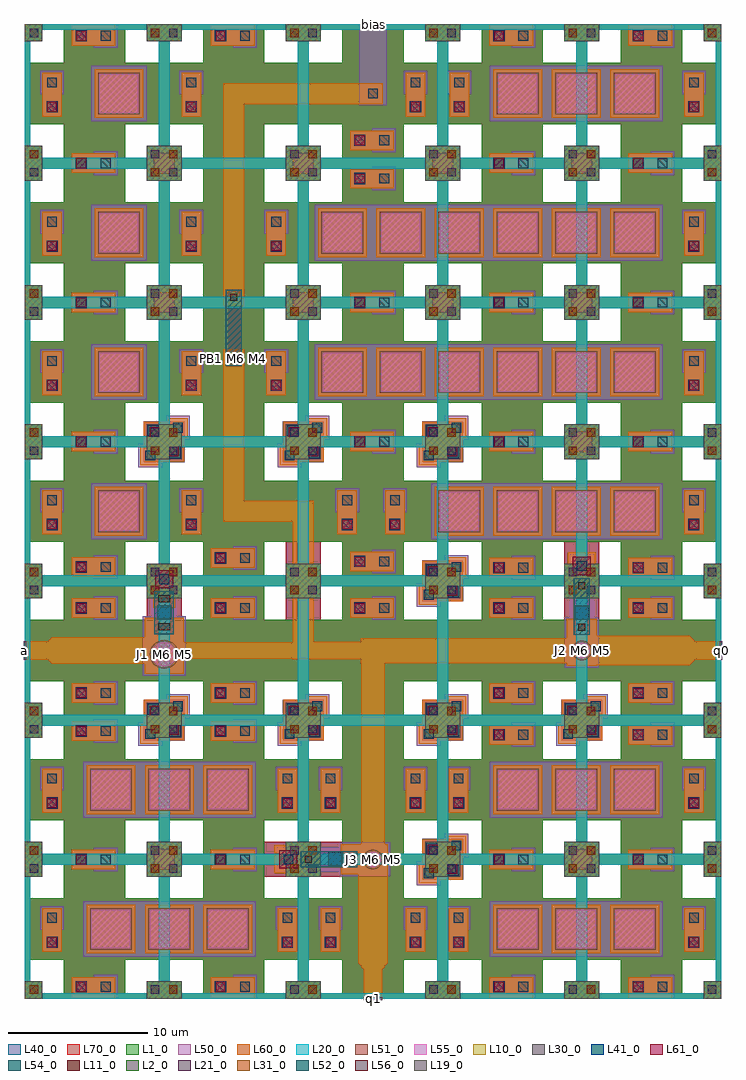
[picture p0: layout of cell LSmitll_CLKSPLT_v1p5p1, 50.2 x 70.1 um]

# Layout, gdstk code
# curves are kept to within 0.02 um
from math import pi, radians
import gdstk
lib = gdstk.Library(unit=1e-6, precision=1e-09)
def R(c, l, rs):  # rectangles x0, y0, x1, y1
    for r in rs: c.add(gdstk.rectangle(r[:2], r[2:], *l))
def A(c, l, x, y, w, h, nx, ny, dx, dy):  # array of equal rectangles
    R(c, l, [(x+i*dx, y+j*dy, x+i*dx+w, y+j*dy+h) for i in range(nx) for j in range(ny)])
def P(c, l, *ps):  # polygons
    for p in ps: c.add(gdstk.Polygon(p, *l))
L1_0 = (1, 0)
L2_0 = (2, 0)
L10_0 = (10, 0)
L11_0 = (11, 0)
L19_0 = (19, 0)
L20_0 = (20, 0)
L21_0 = (21, 0)
L30_0 = (30, 0)
L31_0 = (31, 0)
L40_0 = (40, 0)
L41_0 = (41, 0)
L50_0 = (50, 0)
L51_0 = (51, 0)
L52_0 = (52, 0)
L54_0 = (54, 0)
L55_0 = (55, 0)
L56_0 = (56, 0)
L60_0 = (60, 0)
L61_0 = (61, 0)
L70_0 = (70, 0)

ls_conn_m5m6 = lib.new_cell('ls_conn_M5M6')
R(ls_conn_m5m6, L50_0, [(0,0,1.7,1.7)])
R(ls_conn_m5m6, L54_0, [(0.5,0.5,1.2,1.2)])
R(ls_conn_m5m6, L60_0, [(0.15,0.15,1.55,1.55)])

ls_fakejj_1p5x1p5um = lib.new_cell('ls_FakeJJ_1p5x1p5um')
R(ls_fakejj_1p5x1p5um, L40_0, [(-1.25,-1.25,1.25,1.25)])
R(ls_fakejj_1p5x1p5um, L50_0, [(-1.25,-1.25,1.25,1.25)])
R(ls_fakejj_1p5x1p5um, L51_0, [(-0.75,-0.75,0.75,0.75)])
R(ls_fakejj_1p5x1p5um, L55_0, [(-0.65,-0.65,0.65,0.65)])
R(ls_fakejj_1p5x1p5um, L60_0, [(-1,-1,1,1)])

ls_conn_m4m5m6m7 = lib.new_cell('ls_conn_M4M5M6M7')
R(ls_conn_m4m5m6m7, L40_0, [(0,0,1.4,1.4)])
R(ls_conn_m4m5m6m7, L41_0, [(0.3,0.3,1.1,1.1)])
P(ls_conn_m4m5m6m7, L50_0, [(3.3,1.55),(1.6,1.55),(1.6,1.4),(0,1.4),(0,0),(1.6,0),(1.6,-0.15),(3.3,-0.15)])
R(ls_conn_m4m5m6m7, L54_0, [(2.1,0.35,2.8,1.05)])
R(ls_conn_m4m5m6m7, L60_0, [(0,0,3.15,1.4)])
R(ls_conn_m4m5m6m7, L61_0, [(0.35,0.35,1.05,1.05)])
R(ls_conn_m4m5m6m7, L70_0, [(0,0,1.4,1.4)])

ls_ib_380 = lib.new_cell('ls_ib_380')
R(ls_ib_380, L52_0, [(-0.575,0,0.575,5.45)])
R(ls_ib_380, L56_0, [(-0.26,0.29,0.26,0.81), (-0.26,4.66,0.26,5.18)])
R(ls_ib_380, L60_0, [(-0.625,-0.1,0.625,1.175), (-0.625,4.275,0.625,5.55)])

ls_conn_m5m6m7 = lib.new_cell('ls_conn_M5M6M7')
R(ls_conn_m5m6m7, L50_0, [(-0.5,-0.5,1.2,1.2)])
R(ls_conn_m5m6m7, L54_0, [(0,0,0.7,0.7)])
R(ls_conn_m5m6m7, L60_0, [(-0.65,-0.65,1.35,1.35)])
R(ls_conn_m5m6m7, L61_0, [(-0.3,-0.3,1,1)])
R(ls_conn_m5m6m7, L70_0, [(-0.65,-0.65,1.35,1.35)])

ls_jj_150_sg = lib.new_cell('ls_jj_150_sg')
R(ls_jj_150_sg, L41_0, [(-0.5,2.2,0.5,3.2)])
R(ls_jj_150_sg, L50_0, [(-1.225,-1.225,1.225,2.4), (-0.875,2.4,0.875,6.925)])
P(ls_jj_150_sg, L51_0, [(0,-0.71),(0.27,-0.655),(0.505,-0.5),(0.66,-0.27),(0.71,0),(0.66,0.275),(0.505,0.505),(0.27,0.66),(0,0.715),(-0.27,0.66),(-0.505,0.505),(-0.66,0.275),(-0.71,0),(-0.66,-0.27),(-0.505,-0.5),(-0.27,-0.655)])
R(ls_jj_150_sg, L52_0, [(-0.575,1.125,0.575,5.175)])
P(ls_jj_150_sg, L55_0, [(0,-0.56),(0.23,-0.52),(0.4,-0.41),(0.52,-0.21),(0.56,0),(0.52,0.22),(0.4,0.4),(0.23,0.52),(0,0.56),(-0.23,0.52),(-0.4,0.4),(-0.52,0.22),(-0.56,0),(-0.52,-0.21),(-0.4,-0.41),(-0.23,-0.52)])
R(ls_jj_150_sg, L56_0, [(-0.26,1.41,0.26,1.93), (-0.26,4.39,0.26,4.91)])
R(ls_jj_150_sg, L60_0, [(-1.075,-1.075,1.075,2.3), (-0.725,4.025,0.725,6.775)])
ls_jj_150_sg.add(gdstk.Reference(ls_conn_m5m6m7, (-0.35,5.725)))

ls_jj_325_sg = lib.new_cell('ls_jj_325_sg')
R(ls_jj_325_sg, L41_0, [(-0.5,2.525,0.5,3.525)])
R(ls_jj_325_sg, L50_0, [(-1.55,-1.55,1.55,2.725), (-0.875,2.725,0.875,6.275)])
P(ls_jj_325_sg, L51_0, [(0,-1.035),(0.2,-1.015),(0.395,-0.955),(0.575,-0.86),(0.73,-0.73),(0.86,-0.575),(0.955,-0.395),(1.015,-0.2),(1.035,0),(1.015,0.2),(0.955,0.395),(0.86,0.575),(0.73,0.73),(0.575,0.86),(0.395,0.955),(0.2,1.015),(0,1.035),(-0.2,1.015),(-0.395,0.955),(-0.575,0.86),(-0.73,0.73),(-0.86,0.575),(-0.955,0.395),(-1.015,0.2),(-1.035,0),(-1.015,-0.2),(-0.955,-0.395),(-0.86,-0.575),(-0.73,-0.73),(-0.575,-0.86),(-0.395,-0.955),(-0.2,-1.015)])
R(ls_jj_325_sg, L52_0, [(-0.7,1.45,0.7,4.525)])
R(ls_jj_325_sg, L54_0, [(-0.35,5.05,0.35,5.75)])
P(ls_jj_325_sg, L55_0, [(0,-0.88),(0.34,-0.81),(0.63,-0.62),(0.74,-0.49),(0.82,-0.33),(0.89,0.01),(0.82,0.34),(0.74,0.5),(0.63,0.63),(0.34,0.82),(0,0.89),(-0.34,0.82),(-0.63,0.63),(-0.74,0.5),(-0.82,0.34),(-0.89,0.01),(-0.82,-0.33),(-0.74,-0.49),(-0.63,-0.62),(-0.34,-0.81)])
R(ls_jj_325_sg, L56_0, [(-0.42,1.73,0.42,2.25), (-0.42,3.73,0.42,4.25)])
R(ls_jj_325_sg, L60_0, [(-1.4,-1.4,1.4,2.625), (-0.8,3.35,0.8,6.125)])
ls_jj_325_sg.add(gdstk.Reference(ls_conn_m5m6m7, (-0.35,5.05)))

ls_tr_u_m4 = lib.new_cell('ls_tr_u_M4')
P(ls_tr_u_m4, L1_0, [(10,10),(7.2,10),(7.2,9.6),(8.75,9.6),(8.75,8.75),(9.6,8.75),(9.6,7.2),(7.2,7.2),(7.2,2.8),(9.6,2.8),(9.6,1.25),(8.75,1.25),(8.75,0.4),(7.2,0.4),(7.2,10),(1.25,10),(1.25,9.6),(2.8,9.6),(2.8,7.2),(0.4,7.2),(0.4,2.8),(2.8,2.8),(2.8,0.4),(1.25,0.4),(1.25,1.25),(0.4,1.25),(0.4,8.75),(1.25,8.75),(1.25,10),(0,10),(0,0),(10,0)])
R(ls_tr_u_m4, L2_0, [(9.05,0.35,9.65,0.95), (0.35,9.05,0.95,9.65)])
R(ls_tr_u_m4, L10_0, [(0,0,1.25,1.25), (8.75,0,10,1.25), (0,8.75,1.25,10), (8.75,8.75,10,10)])
R(ls_tr_u_m4, L11_0, [(0.35,0.35,0.95,0.95), (9.05,9.05,9.65,9.65)])
P(ls_tr_u_m4, L20_0, [(10,10),(1.25,10),(1.25,9.6),(8.75,9.6),(8.75,8.75),(9.6,8.75),(9.6,1.25),(8.75,1.25),(8.75,0.4),(1.25,0.4),(1.25,1.25),(0.4,1.25),(0.4,8.75),(1.25,8.75),(1.25,10),(0,10),(0,0),(10,0)])
R(ls_tr_u_m4, L21_0, [(9.05,0.35,9.65,0.95), (0.35,9.05,0.95,9.65)])
R(ls_tr_u_m4, L30_0, [(0,0,1.25,1.25), (8.75,0,10,1.25), (0,8.75,1.25,10), (8.75,8.75,10,10)])
R(ls_tr_u_m4, L31_0, [(0.35,0.35,0.95,0.95), (9.05,9.05,9.65,9.65)])
P(ls_tr_u_m4, L40_0, [(10,10),(7.2,10),(7.2,9.6),(8.75,9.6),(8.75,8.75),(9.6,8.75),(9.6,7.2),(7.2,7.2),(7.2,2.8),(9.6,2.8),(9.6,1.25),(8.75,1.25),(8.75,0.4),(7.2,0.4),(7.2,10),(1.25,10),(1.25,9.6),(2.8,9.6),(2.8,7.2),(0.4,7.2),(0.4,2.8),(2.8,2.8),(2.8,0.4),(1.25,0.4),(1.25,1.25),(0.4,1.25),(0.4,8.75),(1.25,8.75),(1.25,10),(0,10),(0,0),(10,0)])

ls_conn_m4m5m6m7_block = lib.new_cell('ls_conn_M4M5M6M7_block')
R(ls_conn_m4m5m6m7_block, L40_0, [(-1.475,-1.475,1.475,1.475)])
R(ls_conn_m4m5m6m7_block, L41_0, [(0.375,-1.175,1.175,-0.375), (-1.175,0.375,-0.375,1.175)])
P(ls_conn_m4m5m6m7_block, L50_0, [(1.85,1.85),(0.15,1.85),(0.15,1.475),(-1.475,1.475),(-1.475,-0.15),(-1.85,-0.15),(-1.85,-1.85),(-0.15,-1.85),(-0.15,-1.475),(1.475,-1.475),(1.475,0.15),(1.85,0.15)])
R(ls_conn_m4m5m6m7_block, L54_0, [(-1.35,-1.35,-0.65,-0.65), (0.65,0.65,1.35,1.35)])
P(ls_conn_m4m5m6m7_block, L60_0, [(1.7,1.7),(0.3,1.7),(0.3,1.45),(-1.45,1.45),(-1.45,-0.3),(-1.7,-0.3),(-1.7,-1.7),(-0.3,-1.7),(-0.3,-1.45),(1.45,-1.45),(1.45,0.3),(1.7,0.3)])
R(ls_conn_m4m5m6m7_block, L61_0, [(0.35,-1.05,1.05,-0.35), (-1.05,0.35,-0.35,1.05)])
R(ls_conn_m4m5m6m7_block, L70_0, [(-1.45,-1.45,1.45,1.45)])

ls_tr_m7 = lib.new_cell('ls_tr_M7')
P(ls_tr_m7, L70_0, [(10,10),(7.2,10),(7.2,9.6),(8.75,9.6),(8.75,8.75),(9.6,8.75),(9.6,7.2),(7.2,7.2),(7.2,2.8),(9.6,2.8),(9.6,1.25),(8.75,1.25),(8.75,0.4),(7.2,0.4),(7.2,10),(1.25,10),(1.25,9.6),(2.8,9.6),(2.8,7.2),(0.4,7.2),(0.4,2.8),(2.8,2.8),(2.8,0.4),(1.25,0.4),(1.25,1.25),(0.4,1.25),(0.4,8.75),(1.25,8.75),(1.25,10),(0,10),(0,0),(10,0)])

ls_fakejj_3umx3um = lib.new_cell('ls_FakeJJ_3umx3um')
R(ls_fakejj_3umx3um, L40_0, [(-2,-2,2,2)])
R(ls_fakejj_3umx3um, L50_0, [(-2,-2,2,2)])
R(ls_fakejj_3umx3um, L51_0, [(-1.5,-1.5,1.5,1.5)])
R(ls_fakejj_3umx3um, L55_0, [(-1.4,-1.4,1.4,1.4)])
R(ls_fakejj_3umx3um, L60_0, [(-1.75,-1.75,1.75,1.75)])

lsmitll_clksplt_v1p5p1 = lib.new_cell('LSmitll_CLKSPLT_v1p5p1')
R(lsmitll_clksplt_v1p5p1, L19_0, [(14.75,45.75,15.25,46.25)])
R(lsmitll_clksplt_v1p5p1, L40_0, [(17.2,8.75,22.8,11.25), (8.75,27.2,11.25,28.75), (18.75,27.2,21.25,32.8), (38.75,27.2,41.25,32.8)])
A(lsmitll_clksplt_v1p5p1, L50_0, 33.2, 33, 0.2, 4, 3, 1, 4.2, 0)
A(lsmitll_clksplt_v1p5p1, L50_0, 24.8, 43, 0.2, 4, 5, 2, 4.2, 10)
R(lsmitll_clksplt_v1p5p1, L50_0, [(3.35,0,4.95,0.15), (13.35,0,14.95,0.15), (33.35,0,34.95,0.15), (43.35,0,44.95,0.15), (8.175,3,8.375,7), (12.375,3,12.575,7), (37.4,3,37.6,7), (41.6,3,41.8,7), (8.175,13,8.375,17), (12.375,13,12.575,17), (37.4,13,37.6,17), (41.6,13,41.8,17), (37.4,63,37.6,67), (41.6,63,41.8,67), (3.35,69.85,4.95,70), (13.35,69.85,14.95,70), (33.35,69.85,34.95,70), (43.35,69.85,44.95,70)])
R(lsmitll_clksplt_v1p5p1, L60_0, [(3.35,0,6.5,0.15), (13.35,0,16.5,0.15), (33.35,0,36.5,0.15), (43.35,0,46.5,0.15), (3.35,69.85,6.5,70), (13.35,69.85,16.5,70), (33.35,69.85,36.5,70), (43.35,69.85,46.5,70)])
P(lsmitll_clksplt_v1p5p1, L60_0, [(1.65,25.65),(1.65,24.35),(1.95,24.05),(1.95,25.95)],
  [(23.95,2.525),(24.35,2.125),(25.65,2.125),(26.05,2.525)],
  [(47.75,26.05),(47.75,23.95),(48.15,24.35),(48.15,25.65)])
R(lsmitll_clksplt_v1p5p1, L70_0, [(17.2,8.75,22.8,11.25), (8.75,27.2,11.25,28.75), (18.75,27.2,21.25,32.8), (38.75,27.2,41.25,32.8)])
lsmitll_clksplt_v1p5p1.add(gdstk.FlexPath([(25.7,65),(15,65),(15,49.725)], 1.5, ends="flush", simple_path=True, layer=60, datatype=0))  # L60_0
lsmitll_clksplt_v1p5p1.add(gdstk.FlexPath([(25,64.15),(25,70)], 2, ends="flush", simple_path=True, layer=50, datatype=0))  # L50_0
lsmitll_clksplt_v1p5p1.add(gdstk.FlexPath([(20,25.4),(20,35.75)], 1.5, ends="flush", simple_path=True, layer=60, datatype=0))  # L60_0
lsmitll_clksplt_v1p5p1.add(gdstk.FlexPath([(11.4,25),(20.75,25)], 1.2, ends="flush", simple_path=True, layer=60, datatype=0))  # L60_0
lsmitll_clksplt_v1p5p1.add(gdstk.FlexPath([(8.6,25),(1.95,25)], 1.9, ends="flush", simple_path=True, layer=60, datatype=0))  # L60_0
lsmitll_clksplt_v1p5p1.add(gdstk.FlexPath([(1.65,25),(0,25)], 1.3, ends="flush", simple_path=True, layer=60, datatype=0))  # L60_0
lsmitll_clksplt_v1p5p1.add(gdstk.FlexPath([(19.25,25),(25.775,25)], 1.25, ends="flush", simple_path=True, layer=60, datatype=0))  # L60_0
lsmitll_clksplt_v1p5p1.add(gdstk.FlexPath([(24.125,25),(38.925,25)], 1.8, ends="flush", simple_path=True, layer=60, datatype=0))  # L60_0
lsmitll_clksplt_v1p5p1.add(gdstk.FlexPath([(48.15,25),(50,25)], 1.3, ends="flush", simple_path=True, layer=60, datatype=0))  # L60_0
lsmitll_clksplt_v1p5p1.add(gdstk.FlexPath([(25,25.4),(25,11.075)], 1.7, ends="flush", simple_path=True, layer=60, datatype=0))  # L60_0
lsmitll_clksplt_v1p5p1.add(gdstk.FlexPath([(25,2.125),(25,0)], 1.3, ends="flush", simple_path=True, layer=60, datatype=0))  # L60_0
lsmitll_clksplt_v1p5p1.add(gdstk.FlexPath([(25,8.925),(25,2.525)], 2.1, ends="flush", simple_path=True, layer=60, datatype=0))  # L60_0
lsmitll_clksplt_v1p5p1.add(gdstk.FlexPath([(0,25.65),(0,24.35)], 0.2, ends="flush", simple_path=True, layer=19, datatype=0))  # L19_0
lsmitll_clksplt_v1p5p1.add(gdstk.FlexPath([(50,25.65),(50,24.35)], 0.2, ends="flush", simple_path=True, layer=19, datatype=0))  # L19_0
lsmitll_clksplt_v1p5p1.add(gdstk.FlexPath([(24.35,0),(25.65,0)], 0.2, ends="flush", simple_path=True, layer=19, datatype=0))  # L19_0
lsmitll_clksplt_v1p5p1.add(gdstk.FlexPath([(41.075,25),(47.75,25)], 2.1, ends="flush", simple_path=True, layer=60, datatype=0))  # L60_0
lsmitll_clksplt_v1p5p1.add(gdstk.FlexPath([(20,35),(15,35),(15,46.625)], 1.5, ends="flush", simple_path=True, layer=60, datatype=0))  # L60_0
lsmitll_clksplt_v1p5p1.add(gdstk.Reference(ls_conn_m5m6, (24.15,64.15)))
lsmitll_clksplt_v1p5p1.add(gdstk.Reference(ls_fakejj_1p5x1p5um, (10,10)))
lsmitll_clksplt_v1p5p1.add(gdstk.Reference(ls_fakejj_1p5x1p5um, (40,10)))
lsmitll_clksplt_v1p5p1.add(gdstk.Reference(ls_conn_m4m5m6m7, (22.65,13.35), rotation=pi/2))
lsmitll_clksplt_v1p5p1.add(gdstk.Reference(ls_conn_m4m5m6m7, (18.75,43.35), rotation=pi/2))
lsmitll_clksplt_v1p5p1.add(gdstk.Reference(ls_conn_m4m5m6m7, (12.65,43.35), rotation=pi/2))
lsmitll_clksplt_v1p5p1.add(gdstk.Reference(ls_conn_m4m5m6m7, (43.35,21.25)))
lsmitll_clksplt_v1p5p1.add(gdstk.Reference(ls_conn_m4m5m6m7, (43.35,27.35)))
lsmitll_clksplt_v1p5p1.add(gdstk.Reference(ls_conn_m4m5m6m7, (23.35,30.7)))
lsmitll_clksplt_v1p5p1.add(gdstk.Reference(ls_conn_m4m5m6m7, (13.35,30.95)))
lsmitll_clksplt_v1p5p1.add(gdstk.Reference(ls_conn_m4m5m6m7, (13.35,27.35)))
lsmitll_clksplt_v1p5p1.add(gdstk.Reference(ls_conn_m4m5m6m7, (33.35,27.35)))
lsmitll_clksplt_v1p5p1.add(gdstk.Reference(ls_conn_m4m5m6m7, (23.85,33.35), rotation=pi/2))
lsmitll_clksplt_v1p5p1.add(gdstk.Reference(ls_conn_m4m5m6m7, (12.65,33.35), rotation=pi/2))
lsmitll_clksplt_v1p5p1.add(gdstk.Reference(ls_conn_m4m5m6m7, (28.75,3.35), rotation=pi/2))
lsmitll_clksplt_v1p5p1.add(gdstk.Reference(ls_conn_m4m5m6m7, (22.65,3.35), rotation=pi/2))
lsmitll_clksplt_v1p5p1.add(gdstk.Reference(ls_conn_m4m5m6m7, (28.75,13.35), rotation=pi/2))
lsmitll_clksplt_v1p5p1.add(gdstk.Reference(ls_conn_m4m5m6m7, (23.35,27.35)))
lsmitll_clksplt_v1p5p1.add(gdstk.Reference(ls_conn_m4m5m6m7, (33.35,21.25)))
lsmitll_clksplt_v1p5p1.add(gdstk.Reference(ls_conn_m4m5m6m7, (13.35,21.25)))
lsmitll_clksplt_v1p5p1.add(gdstk.Reference(ls_conn_m4m5m6m7, (3.35,21.25)))
lsmitll_clksplt_v1p5p1.add(gdstk.Reference(ls_ib_380, (15,45.45)))
lsmitll_clksplt_v1p5p1.add(gdstk.Reference(ls_jj_150_sg, (25,10), rotation=pi/2))
lsmitll_clksplt_v1p5p1.add(gdstk.Reference(ls_jj_150_sg, (40,25)))
lsmitll_clksplt_v1p5p1.add(gdstk.Reference(ls_jj_325_sg, (10,24.725)))
lsmitll_clksplt_v1p5p1.add(gdstk.Reference(ls_tr_u_m4, (20,0)))
lsmitll_clksplt_v1p5p1.add(gdstk.Reference(ls_tr_u_m4, (20,10)))
lsmitll_clksplt_v1p5p1.add(gdstk.Reference(ls_tr_u_m4, (20,20)))
lsmitll_clksplt_v1p5p1.add(gdstk.Reference(ls_tr_u_m4, (20,30)))
lsmitll_clksplt_v1p5p1.add(gdstk.Reference(ls_tr_u_m4, (20,40)))
lsmitll_clksplt_v1p5p1.add(gdstk.Reference(ls_tr_u_m4, (20,50)))
lsmitll_clksplt_v1p5p1.add(gdstk.Reference(ls_tr_u_m4, (20,60)))
lsmitll_clksplt_v1p5p1.add(gdstk.Reference(ls_tr_u_m4, (10,60)))
lsmitll_clksplt_v1p5p1.add(gdstk.Reference(ls_tr_u_m4, (10,50)))
lsmitll_clksplt_v1p5p1.add(gdstk.Reference(ls_tr_u_m4, (10,40)))
lsmitll_clksplt_v1p5p1.add(gdstk.Reference(ls_tr_u_m4, (10,30)))
lsmitll_clksplt_v1p5p1.add(gdstk.Reference(ls_tr_u_m4, (10,20)))
lsmitll_clksplt_v1p5p1.add(gdstk.Reference(ls_tr_u_m4, (10,10)))
lsmitll_clksplt_v1p5p1.add(gdstk.Reference(ls_tr_u_m4, (10,0)))
lsmitll_clksplt_v1p5p1.add(gdstk.Reference(ls_tr_u_m4, (0,0)))
lsmitll_clksplt_v1p5p1.add(gdstk.Reference(ls_tr_u_m4, (0,10)))
lsmitll_clksplt_v1p5p1.add(gdstk.Reference(ls_tr_u_m4, (0,20)))
lsmitll_clksplt_v1p5p1.add(gdstk.Reference(ls_tr_u_m4, (0,30)))
lsmitll_clksplt_v1p5p1.add(gdstk.Reference(ls_tr_u_m4, (0,40)))
lsmitll_clksplt_v1p5p1.add(gdstk.Reference(ls_tr_u_m4, (0,50)))
lsmitll_clksplt_v1p5p1.add(gdstk.Reference(ls_tr_u_m4, (0,60)))
lsmitll_clksplt_v1p5p1.add(gdstk.Reference(ls_tr_u_m4, (30,60)))
lsmitll_clksplt_v1p5p1.add(gdstk.Reference(ls_tr_u_m4, (30,50)))
lsmitll_clksplt_v1p5p1.add(gdstk.Reference(ls_tr_u_m4, (30,40)))
lsmitll_clksplt_v1p5p1.add(gdstk.Reference(ls_tr_u_m4, (30,30)))
lsmitll_clksplt_v1p5p1.add(gdstk.Reference(ls_tr_u_m4, (30,20)))
lsmitll_clksplt_v1p5p1.add(gdstk.Reference(ls_tr_u_m4, (30,10)))
lsmitll_clksplt_v1p5p1.add(gdstk.Reference(ls_tr_u_m4, (30,0)))
lsmitll_clksplt_v1p5p1.add(gdstk.Reference(ls_conn_m4m5m6m7_block, (10,20)))
lsmitll_clksplt_v1p5p1.add(gdstk.Reference(ls_conn_m4m5m6m7_block, (20,20)))
lsmitll_clksplt_v1p5p1.add(gdstk.Reference(ls_conn_m4m5m6m7_block, (30,30)))
lsmitll_clksplt_v1p5p1.add(gdstk.Reference(ls_conn_m4m5m6m7_block, (30,20)))
lsmitll_clksplt_v1p5p1.add(gdstk.Reference(ls_conn_m4m5m6m7_block, (30,10)))
lsmitll_clksplt_v1p5p1.add(gdstk.Reference(ls_conn_m4m5m6m7_block, (30,40)))
lsmitll_clksplt_v1p5p1.add(gdstk.Reference(ls_conn_m4m5m6m7_block, (20,40)))
lsmitll_clksplt_v1p5p1.add(gdstk.Reference(ls_conn_m4m5m6m7_block, (10,40)))
lsmitll_clksplt_v1p5p1.add(gdstk.Reference(ls_conn_m4m5m6m7, (3.35,27.35)))
r = gdstk.Reference(ls_tr_m7, (0,0)); r.repetition = gdstk.Repetition(5, 7, v1=(10,0), v2=(0,10)); lsmitll_clksplt_v1p5p1.add(r)
lsmitll_clksplt_v1p5p1.add(gdstk.Reference(ls_tr_u_m4, (40,0)))
lsmitll_clksplt_v1p5p1.add(gdstk.Reference(ls_tr_u_m4, (40,10)))
lsmitll_clksplt_v1p5p1.add(gdstk.Reference(ls_tr_u_m4, (40,20)))
lsmitll_clksplt_v1p5p1.add(gdstk.Reference(ls_tr_u_m4, (40,30)))
lsmitll_clksplt_v1p5p1.add(gdstk.Reference(ls_tr_u_m4, (40,40)))
lsmitll_clksplt_v1p5p1.add(gdstk.Reference(ls_tr_u_m4, (40,50)))
lsmitll_clksplt_v1p5p1.add(gdstk.Reference(ls_tr_u_m4, (40,60)))
lsmitll_clksplt_v1p5p1.add(gdstk.Reference(ls_conn_m4m5m6m7_block, (40,20)))
lsmitll_clksplt_v1p5p1.add(gdstk.Reference(ls_fakejj_1p5x1p5um, (10,60)))
lsmitll_clksplt_v1p5p1.add(gdstk.Reference(ls_fakejj_1p5x1p5um, (20,60)))
lsmitll_clksplt_v1p5p1.add(gdstk.Reference(ls_fakejj_1p5x1p5um, (30,60)))
lsmitll_clksplt_v1p5p1.add(gdstk.Reference(ls_fakejj_1p5x1p5um, (40,60)))
lsmitll_clksplt_v1p5p1.add(gdstk.Reference(ls_fakejj_1p5x1p5um, (40,50)))
lsmitll_clksplt_v1p5p1.add(gdstk.Reference(ls_fakejj_1p5x1p5um, (30,50)))
lsmitll_clksplt_v1p5p1.add(gdstk.Reference(ls_fakejj_1p5x1p5um, (20,50)))
lsmitll_clksplt_v1p5p1.add(gdstk.Reference(ls_fakejj_1p5x1p5um, (10,50)))
lsmitll_clksplt_v1p5p1.add(gdstk.Reference(ls_fakejj_1p5x1p5um, (40,40)))
lsmitll_clksplt_v1p5p1.add(gdstk.Reference(ls_conn_m4m5m6m7, (12.65,53.35), rotation=pi/2))
lsmitll_clksplt_v1p5p1.add(gdstk.Reference(ls_conn_m4m5m6m7, (18.75,53.35), rotation=pi/2))
lsmitll_clksplt_v1p5p1.add(gdstk.Reference(ls_conn_m4m5m6m7, (12.65,63.35), rotation=pi/2))
lsmitll_clksplt_v1p5p1.add(gdstk.Reference(ls_conn_m4m5m6m7, (28.75,63.35), rotation=pi/2))
lsmitll_clksplt_v1p5p1.add(gdstk.Reference(ls_conn_m4m5m6m7, (23.35,60.95)))
lsmitll_clksplt_v1p5p1.add(gdstk.Reference(ls_conn_m4m5m6m7, (13.35,68.45)))
lsmitll_clksplt_v1p5p1.add(gdstk.Reference(ls_fakejj_3umx3um, (6.175,5)))
lsmitll_clksplt_v1p5p1.add(gdstk.Reference(ls_fakejj_3umx3um, (10.375,5)))
lsmitll_clksplt_v1p5p1.add(gdstk.Reference(ls_fakejj_3umx3um, (14.575,5)))
lsmitll_clksplt_v1p5p1.add(gdstk.Reference(ls_conn_m4m5m6m7, (2.65,63.35), rotation=pi/2))
lsmitll_clksplt_v1p5p1.add(gdstk.Reference(ls_conn_m4m5m6m7, (2.65,53.35), rotation=pi/2))
lsmitll_clksplt_v1p5p1.add(gdstk.Reference(ls_conn_m4m5m6m7, (2.65,33.35), rotation=pi/2))
lsmitll_clksplt_v1p5p1.add(gdstk.Reference(ls_conn_m4m5m6m7, (2.65,43.35), rotation=pi/2))
lsmitll_clksplt_v1p5p1.add(gdstk.Reference(ls_conn_m4m5m6m7, (48.75,43.35), rotation=pi/2))
lsmitll_clksplt_v1p5p1.add(gdstk.Reference(ls_conn_m4m5m6m7, (48.75,33.35), rotation=pi/2))
lsmitll_clksplt_v1p5p1.add(gdstk.Reference(ls_conn_m4m5m6m7, (48.75,53.35), rotation=pi/2))
lsmitll_clksplt_v1p5p1.add(gdstk.Reference(ls_conn_m4m5m6m7, (48.75,63.35), rotation=pi/2))
lsmitll_clksplt_v1p5p1.add(gdstk.Reference(ls_conn_m4m5m6m7, (3.35,68.45)))
lsmitll_clksplt_v1p5p1.add(gdstk.Reference(ls_conn_m4m5m6m7, (33.35,68.45)))
lsmitll_clksplt_v1p5p1.add(gdstk.Reference(ls_conn_m4m5m6m7, (43.35,68.45)))
lsmitll_clksplt_v1p5p1.add(gdstk.Reference(ls_conn_m4m5m6m7, (43.35,0.15)))
lsmitll_clksplt_v1p5p1.add(gdstk.Reference(ls_conn_m4m5m6m7, (3.35,0.15)))
lsmitll_clksplt_v1p5p1.add(gdstk.Reference(ls_conn_m4m5m6m7, (48.75,3.35), rotation=pi/2))
lsmitll_clksplt_v1p5p1.add(gdstk.Reference(ls_conn_m4m5m6m7, (48.75,13.35), rotation=pi/2))
lsmitll_clksplt_v1p5p1.add(gdstk.Reference(ls_conn_m4m5m6m7, (2.65,13.35), rotation=pi/2))
lsmitll_clksplt_v1p5p1.add(gdstk.Reference(ls_conn_m4m5m6m7, (2.65,3.35), rotation=pi/2))
lsmitll_clksplt_v1p5p1.add(gdstk.Reference(ls_conn_m4m5m6m7, (33.35,0.15)))
lsmitll_clksplt_v1p5p1.add(gdstk.Reference(ls_conn_m4m5m6m7, (13.35,0.15)))
lsmitll_clksplt_v1p5p1.add(gdstk.Reference(ls_fakejj_3umx3um, (14.575,15)))
lsmitll_clksplt_v1p5p1.add(gdstk.Reference(ls_fakejj_3umx3um, (10.375,15)))
lsmitll_clksplt_v1p5p1.add(gdstk.Reference(ls_fakejj_3umx3um, (6.175,15)))
lsmitll_clksplt_v1p5p1.add(gdstk.Reference(ls_fakejj_3umx3um, (43.8,5)))
lsmitll_clksplt_v1p5p1.add(gdstk.Reference(ls_fakejj_3umx3um, (39.6,5)))
lsmitll_clksplt_v1p5p1.add(gdstk.Reference(ls_fakejj_3umx3um, (35.4,5)))
lsmitll_clksplt_v1p5p1.add(gdstk.Reference(ls_fakejj_3umx3um, (35.4,15)))
lsmitll_clksplt_v1p5p1.add(gdstk.Reference(ls_fakejj_3umx3um, (39.6,15)))
lsmitll_clksplt_v1p5p1.add(gdstk.Reference(ls_fakejj_3umx3um, (43.8,15)))
lsmitll_clksplt_v1p5p1.add(gdstk.Reference(ls_conn_m4m5m6m7, (19.55,3.35), rotation=pi/2))
lsmitll_clksplt_v1p5p1.add(gdstk.Reference(ls_conn_m4m5m6m7, (19.55,13.35), rotation=pi/2))
lsmitll_clksplt_v1p5p1.add(gdstk.Reference(ls_conn_m4m5m6m7, (31.85,13.35), rotation=pi/2))
lsmitll_clksplt_v1p5p1.add(gdstk.Reference(ls_conn_m4m5m6m7, (31.85,3.35), rotation=pi/2))
lsmitll_clksplt_v1p5p1.add(gdstk.Reference(ls_fakejj_3umx3um, (43.8,35)))
lsmitll_clksplt_v1p5p1.add(gdstk.Reference(ls_fakejj_3umx3um, (39.6,35)))
lsmitll_clksplt_v1p5p1.add(gdstk.Reference(ls_fakejj_3umx3um, (35.4,35)))
lsmitll_clksplt_v1p5p1.add(gdstk.Reference(ls_fakejj_3umx3um, (35.4,45)))
lsmitll_clksplt_v1p5p1.add(gdstk.Reference(ls_fakejj_3umx3um, (39.6,45)))
lsmitll_clksplt_v1p5p1.add(gdstk.Reference(ls_fakejj_3umx3um, (43.8,45)))
lsmitll_clksplt_v1p5p1.add(gdstk.Reference(ls_fakejj_3umx3um, (43.8,55)))
lsmitll_clksplt_v1p5p1.add(gdstk.Reference(ls_fakejj_3umx3um, (39.6,55)))
lsmitll_clksplt_v1p5p1.add(gdstk.Reference(ls_fakejj_3umx3um, (35.4,55)))
lsmitll_clksplt_v1p5p1.add(gdstk.Reference(ls_fakejj_3umx3um, (35.4,65)))
lsmitll_clksplt_v1p5p1.add(gdstk.Reference(ls_fakejj_3umx3um, (39.6,65)))
lsmitll_clksplt_v1p5p1.add(gdstk.Reference(ls_fakejj_3umx3um, (43.8,65)))
lsmitll_clksplt_v1p5p1.add(gdstk.Reference(ls_fakejj_3umx3um, (27,55)))
lsmitll_clksplt_v1p5p1.add(gdstk.Reference(ls_fakejj_3umx3um, (31.2,55)))
lsmitll_clksplt_v1p5p1.add(gdstk.Reference(ls_fakejj_3umx3um, (31.2,45)))
lsmitll_clksplt_v1p5p1.add(gdstk.Reference(ls_fakejj_3umx3um, (27,45)))
lsmitll_clksplt_v1p5p1.add(gdstk.Reference(ls_fakejj_3umx3um, (31.2,35)))
lsmitll_clksplt_v1p5p1.add(gdstk.Reference(ls_fakejj_3umx3um, (22.8,45)))
lsmitll_clksplt_v1p5p1.add(gdstk.Reference(ls_fakejj_3umx3um, (22.8,55)))
lsmitll_clksplt_v1p5p1.add(gdstk.Reference(ls_fakejj_3umx3um, (6.75,55)))
lsmitll_clksplt_v1p5p1.add(gdstk.Reference(ls_fakejj_3umx3um, (6.75,45)))
lsmitll_clksplt_v1p5p1.add(gdstk.Reference(ls_fakejj_3umx3um, (6.75,35)))
lsmitll_clksplt_v1p5p1.add(gdstk.Reference(ls_fakejj_3umx3um, (6.75,65)))
lsmitll_clksplt_v1p5p1.add(gdstk.Reference(ls_conn_m4m5m6m7, (33.35,39.3)))
lsmitll_clksplt_v1p5p1.add(gdstk.Reference(ls_conn_m4m5m6m7, (43.35,39.3)))
lsmitll_clksplt_v1p5p1.add(gdstk.Reference(ls_conn_m4m5m6m7, (23.35,39.3)))
lsmitll_clksplt_v1p5p1.add(gdstk.Reference(ls_conn_m4m5m6m7, (23.35,49.3)))
lsmitll_clksplt_v1p5p1.add(gdstk.Reference(ls_conn_m4m5m6m7, (43.35,49.3)))
lsmitll_clksplt_v1p5p1.add(gdstk.Reference(ls_conn_m4m5m6m7, (33.35,49.3)))
lsmitll_clksplt_v1p5p1.add(gdstk.Reference(ls_conn_m4m5m6m7, (33.35,59.3)))
lsmitll_clksplt_v1p5p1.add(gdstk.Reference(ls_conn_m4m5m6m7, (43.35,59.3)))
lsmitll_clksplt_v1p5p1.add(gdstk.Reference(ls_conn_m4m5m6m7, (31.9,63.35), rotation=pi/2))
lsmitll_clksplt_v1p5p1.add(gdstk.Reference(ls_conn_m4m5m6m7, (23.35,58.2)))
lsmitll_clksplt_v1p5p1.add(gdstk.Reference(ls_conn_m4m5m6m7, (3.35,59.3)))
lsmitll_clksplt_v1p5p1.add(gdstk.Reference(ls_conn_m4m5m6m7, (3.35,49.3)))
lsmitll_clksplt_v1p5p1.add(gdstk.Reference(ls_conn_m4m5m6m7, (3.35,39.3)))
lsmitll_clksplt_v1p5p1.add(gdstk.Reference(ls_conn_m4m5m6m7, (27.275,33.35), rotation=pi/2))
lsmitll_clksplt_v1p5p1.add(gdstk.Reference(ls_conn_m4m5m6m7, (33.35,30.25)))
lsmitll_clksplt_v1p5p1.add(gdstk.Reference(ls_conn_m4m5m6m7, (43.35,30.25)))
lsmitll_clksplt_v1p5p1.add(gdstk.Reference(ls_conn_m4m5m6m7, (33.35,18.25)))
lsmitll_clksplt_v1p5p1.add(gdstk.Reference(ls_conn_m4m5m6m7, (43.35,18.25)))
lsmitll_clksplt_v1p5p1.add(gdstk.Reference(ls_conn_m4m5m6m7, (43.35,9.3)))
lsmitll_clksplt_v1p5p1.add(gdstk.Reference(ls_conn_m4m5m6m7, (33.35,9.3)))
lsmitll_clksplt_v1p5p1.add(gdstk.Reference(ls_conn_m4m5m6m7, (3.35,9.3)))
lsmitll_clksplt_v1p5p1.add(gdstk.Reference(ls_conn_m4m5m6m7, (13.35,9.3)))
lsmitll_clksplt_v1p5p1.add(gdstk.Reference(ls_conn_m4m5m6m7, (3.35,30.3)))
lsmitll_clksplt_v1p5p1.add(gdstk.Reference(ls_conn_m4m5m6m7, (3.35,18.525)))
lsmitll_clksplt_v1p5p1.add(gdstk.Reference(ls_conn_m4m5m6m7, (13.35,18.525)))
lsmitll_clksplt_v1p5p1.add(gdstk.Label('bias', (25,70), layer=182, texttype=0))
lsmitll_clksplt_v1p5p1.add(gdstk.Label('q1', (25,0), layer=182, texttype=0))
lsmitll_clksplt_v1p5p1.add(gdstk.Label('q0', (50,25), layer=182, texttype=0))
lsmitll_clksplt_v1p5p1.add(gdstk.Label('a', (0,25), layer=182, texttype=0))
lsmitll_clksplt_v1p5p1.add(gdstk.Label('P1 M6 M4', (0,25.025), layer=182, texttype=0))
lsmitll_clksplt_v1p5p1.add(gdstk.Label('J1 M6 M5', (10,24.725), layer=182, texttype=0))
lsmitll_clksplt_v1p5p1.add(gdstk.Label('PB1 M6 M4', (15,46), layer=182, texttype=0))
lsmitll_clksplt_v1p5p1.add(gdstk.Label('P2 M6 M4', (50,25.025), layer=182, texttype=0))
lsmitll_clksplt_v1p5p1.add(gdstk.Label('J2 M6 M5', (40.025,25.025), layer=182, texttype=0))
lsmitll_clksplt_v1p5p1.add(gdstk.Label('J3 M6 M5', (25,10), layer=182, texttype=0))
lsmitll_clksplt_v1p5p1.add(gdstk.Label('P3 M6 M4', (24.975,0), layer=182, texttype=0))

lib.write_gds('LSmitll_CLKSPLT_v1p5p1.gds')
